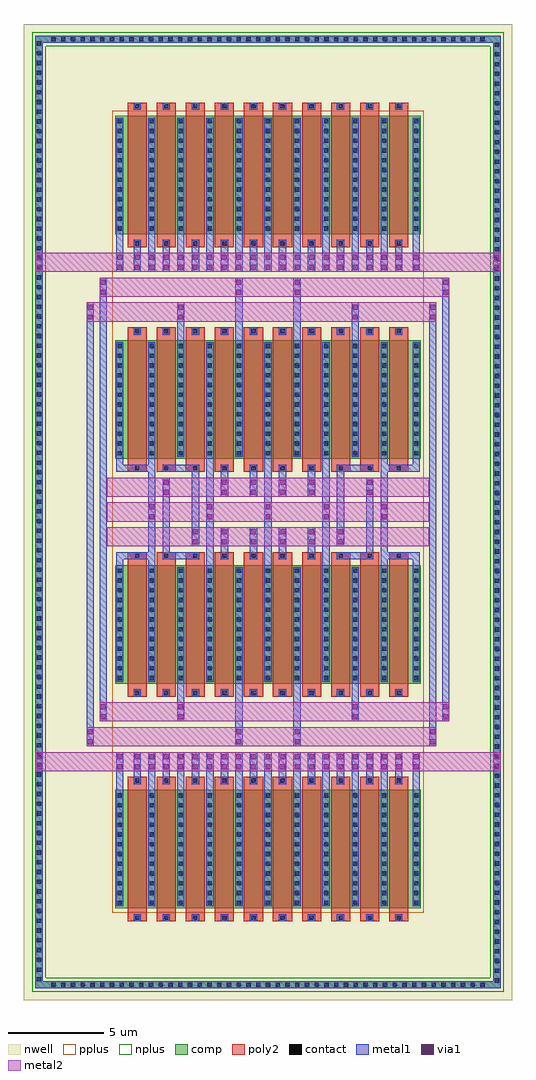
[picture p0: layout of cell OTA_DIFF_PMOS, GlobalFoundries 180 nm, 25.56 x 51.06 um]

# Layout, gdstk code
import gdstk
lib = gdstk.Library(unit=1e-6, precision=5e-09)
def R(c, l, rs):  # rectangles x0, y0, x1, y1
    for r in rs: c.add(gdstk.rectangle(r[:2], r[2:], *l))
def A(c, l, x, y, w, h, nx, ny, dx, dy):  # array of equal rectangles
    R(c, l, [(x+i*dx, y+j*dy, x+i*dx+w, y+j*dy+h) for i in range(nx) for j in range(ny)])
def P(c, l, *ps):  # polygons
    for p in ps: c.add(gdstk.Polygon(p, *l))
nwell = (21, 0)
comp = (22, 0)
poly2 = (30, 0)
pplus = (31, 0)
nplus = (32, 0)
contact = (33, 0)
metal1 = (34, 0)
via1 = (35, 0)
metal2 = (36, 0)

pfet_2 = lib.new_cell('pfet$2')
R(pfet_2, nwell, [(-0.9,-0.44,15.96,6.64)])
R(pfet_2, comp, [(-0.46,0,0,6.2), (0,0,15.06,6.2), (15.06,0,15.52,6.2)])
A(pfet_2, poly2, 0.19, -0.68, 1, 0.38, 10, 1, 1.52, 0)
A(pfet_2, poly2, 0.19, -0.3, 1, 6.8, 10, 1, 1.52, 0)
R(pfet_2, pplus, [(-0.63,-0.24,15.69,6.44)])
A(pfet_2, contact, 0.58, -0.6, 0.22, 0.22, 10, 1, 1.52, 0)
A(pfet_2, contact, -0.34, 0.185, 0.22, 0.22, 1, 12, 0, 0.51)
A(pfet_2, contact, 1.34, 0.185, 0.22, 0.22, 9, 12, 1.52, 0.51)
A(pfet_2, contact, 15.18, 0.185, 0.22, 0.22, 1, 12, 0, 0.51)
A(pfet_2, metal1, 0.5, -0.68, 0.38, 0.38, 10, 1, 1.52, 0)
A(pfet_2, metal1, 1.26, 0.105, 0.38, 5.99, 9, 1, 1.52, 0)
R(pfet_2, metal1, [(-0.42,0.105,-0.04,6.095), (15.1,0.105,15.48,6.095)])

pfet = lib.new_cell('pfet')
R(pfet, nwell, [(-0.9,-0.44,15.96,6.64)])
R(pfet, comp, [(-0.46,0,0,6.2), (0,0,15.06,6.2), (15.06,0,15.52,6.2)])
A(pfet, poly2, 0.19, -0.3, 1, 6.8, 10, 1, 1.52, 0)
A(pfet, poly2, 0.19, 6.5, 1, 0.38, 10, 1, 1.52, 0)
R(pfet, pplus, [(-0.63,-0.24,15.69,6.44)])
A(pfet, contact, -0.34, 0.185, 0.22, 0.22, 1, 12, 0, 0.51)
A(pfet, contact, 1.34, 0.185, 0.22, 0.22, 9, 12, 1.52, 0.51)
A(pfet, contact, 15.18, 0.185, 0.22, 0.22, 1, 12, 0, 0.51)
A(pfet, contact, 0.58, 6.58, 0.22, 0.22, 10, 1, 1.52, 0)
A(pfet, metal1, 1.26, 0.105, 0.38, 5.99, 9, 1, 1.52, 0)
A(pfet, metal1, 0.5, 6.5, 0.38, 0.38, 10, 1, 1.52, 0)
R(pfet, metal1, [(-0.42,0.105,-0.04,6.095), (15.1,0.105,15.48,6.095)])

ota_diff_pmos = lib.new_cell('OTA_DIFF_PMOS')
R(ota_diff_pmos, nwell, [(18.975,7.635,44.535,58.7), (23.325,11.99,40.185,54.35)])
A(ota_diff_pmos, poly2, 24.415, 11.75, 1, 0.38, 10, 2, 1.52, 11.76)
A(ota_diff_pmos, poly2, 24.415, 42.45, 1, 0.38, 10, 2, 1.52, 11.76)
R(ota_diff_pmos, pplus, [(23.595,12.19,39.915,54.15)])
P(ota_diff_pmos, pplus, [(23.595,54.15),(23.595,54.15),(23.595,54.15),(23.595,54.15)])
A(ota_diff_pmos, contact, 20.425, 8.325, 0.22, 0.22, 45, 2, 0.51, 49.465)
A(ota_diff_pmos, contact, 43.625, 8.545, 0.22, 0.22, 1, 3, 0, 0.51)
A(ota_diff_pmos, contact, 19.665, 8.605, 0.22, 0.22, 1, 3, 0, 0.51)
A(ota_diff_pmos, contact, 43.625, 10.08, 0.22, 0.22, 1, 94, 0, 0.51)
A(ota_diff_pmos, contact, 19.665, 10.14, 0.22, 0.22, 1, 94, 0, 0.51)
A(ota_diff_pmos, contact, 24.805, 11.83, 0.22, 0.22, 10, 2, 1.52, 11.76)
A(ota_diff_pmos, contact, 24.805, 42.53, 0.22, 0.22, 10, 2, 1.52, 11.76)
A(ota_diff_pmos, metal1, 24.725, 11.75, 0.38, 0.38, 10, 2, 1.52, 11.76)
A(ota_diff_pmos, metal1, 24.725, 42.45, 0.38, 0.38, 10, 2, 1.52, 11.76)
A(ota_diff_pmos, via1, 24.785, 19.72, 0.26, 0.26, 19, 2, 0.76, 0.52)
A(ota_diff_pmos, via1, 25.545, 32.78, 0.26, 0.26, 5, 2, 3.04, 0.52)
A(ota_diff_pmos, via1, 29.345, 34.08, 0.26, 0.26, 4, 2, 1.52, 0.52)
A(ota_diff_pmos, via1, 24.785, 45.84, 0.26, 0.26, 19, 2, 0.76, 0.52)
R(ota_diff_pmos, via1, [(19.645,19.72,19.905,19.98), (23.865,19.72,24.125,19.98), (39.385,19.72,39.645,19.98), (43.605,19.72,43.865,19.98), (19.645,20.24,19.905,20.5), (23.865,20.24,24.125,20.5), (39.385,20.24,39.645,20.5), (43.605,20.24,43.865,20.5), (22.325,21.02,22.585,21.28), (30.105,21.02,30.365,21.28), (33.145,21.02,33.405,21.28), (40.245,21.02,40.505,21.28), (22.325,21.54,22.585,21.8), (30.105,21.54,30.365,21.8), (33.145,21.54,33.405,21.8), (40.245,21.54,40.505,21.8), (23.005,22.32,23.265,22.58), (27.065,22.32,27.325,22.58), (36.185,22.32,36.445,22.58), (40.925,22.32,41.185,22.58), (23.005,22.84,23.265,23.1), (27.065,22.84,27.325,23.1), (36.185,22.84,36.445,23.1), (40.925,22.84,41.185,23.1), (27.825,31.48,28.085,31.74), (29.345,31.48,29.605,31.74), (33.905,31.48,34.165,31.74), (35.425,31.48,35.685,31.74), (30.865,31.485,31.125,31.745), (32.385,31.485,32.645,31.745), (27.825,32,28.085,32.26), (29.345,32,29.605,32.26), (33.905,32,34.165,32.26), (35.425,32,35.685,32.26), (30.865,32.005,31.125,32.265), (32.385,32.005,32.645,32.265), (26.305,34.08,26.565,34.34), (36.945,34.08,37.205,34.34), (26.305,34.6,26.565,34.86), (36.945,34.6,37.205,34.86), (22.325,43.24,22.585,43.5), (27.065,43.24,27.325,43.5), (36.185,43.24,36.445,43.5), (40.245,43.24,40.505,43.5), (22.325,43.76,22.585,44.02), (27.065,43.76,27.325,44.02), (36.185,43.76,36.445,44.02), (40.245,43.76,40.505,44.02), (23.005,44.54,23.265,44.8), (30.105,44.54,30.365,44.8), (33.145,44.54,33.405,44.8), (40.925,44.54,41.185,44.8), (23.005,45.06,23.265,45.32), (30.105,45.06,30.365,45.32), (33.145,45.06,33.405,45.32), (40.925,45.06,41.185,45.32), (19.645,45.84,19.905,46.1), (23.865,45.84,24.125,46.1), (39.385,45.84,39.645,46.1), (43.605,45.84,43.865,46.1), (19.645,46.36,19.905,46.62), (23.865,46.36,24.125,46.62), (39.385,46.36,39.645,46.62), (43.605,46.36,43.865,46.62)])
ota_diff_pmos.add(gdstk.FlexPath([(27.765,35.46),(26.625,35.46)], 0.38, ends="flush", simple_path=True, layer=34, datatype=0))  # metal1
ota_diff_pmos.add(gdstk.FlexPath([(28.715,36.055),(28.715,30.285)], 0.38, ends="flush", simple_path=True, layer=34, datatype=0))  # metal1
ota_diff_pmos.add(gdstk.FlexPath([(27.955,35.27),(27.955,31.37)], 0.38, ends="flush", simple_path=True, layer=34, datatype=0))  # metal1
ota_diff_pmos.add(gdstk.FlexPath([(25.675,30.285),(25.675,36.055)], 0.38, ends="flush", simple_path=True, layer=34, datatype=0))  # metal1
ota_diff_pmos.add(gdstk.FlexPath([(26.435,31.07),(26.435,34.97)], 0.38, ends="flush", simple_path=True, layer=34, datatype=0))  # metal1
ota_diff_pmos.add(gdstk.FlexPath([(31.755,30.285),(31.755,36.055)], 0.38, ends="flush", simple_path=True, layer=34, datatype=0))  # metal1
ota_diff_pmos.add(gdstk.FlexPath([(29.475,35.27),(29.475,33.97)], 0.38, ends="flush", simple_path=True, layer=34, datatype=0))  # metal1
ota_diff_pmos.add(gdstk.FlexPath([(30.995,35.27),(30.995,33.97)], 0.38, ends="flush", simple_path=True, layer=34, datatype=0))  # metal1
ota_diff_pmos.add(gdstk.FlexPath([(23.995,36.055),(23.995,35.46),(24.725,35.46)], 0.38, ends="flush", simple_path=True, layer=34, datatype=0))  # metal1
ota_diff_pmos.add(gdstk.FlexPath([(25.105,35.46),(25.865,35.46)], 0.38, ends="flush", simple_path=True, layer=34, datatype=0))  # metal1
ota_diff_pmos.add(gdstk.FlexPath([(25.105,30.88),(25.865,30.88)], 0.38, ends="flush", simple_path=True, layer=34, datatype=0))  # metal1
ota_diff_pmos.add(gdstk.FlexPath([(23.995,30.285),(23.995,30.88),(24.725,30.88)], 0.38, ends="flush", simple_path=True, layer=34, datatype=0))  # metal1
ota_diff_pmos.add(gdstk.FlexPath([(29.475,31.07),(29.475,32.37)], 0.38, ends="flush", simple_path=True, layer=34, datatype=0))  # metal1
ota_diff_pmos.add(gdstk.FlexPath([(30.995,31.07),(30.995,32.37)], 0.38, ends="flush", simple_path=True, layer=34, datatype=0))  # metal1
ota_diff_pmos.add(gdstk.FlexPath([(27.765,30.88),(26.625,30.88)], 0.38, ends="flush", simple_path=True, layer=34, datatype=0))  # metal1
ota_diff_pmos.add(gdstk.FlexPath([(27.195,24.295),(27.195,22.21)], 0.38, ends="flush", simple_path=True, layer=34, datatype=0))  # metal1
ota_diff_pmos.add(gdstk.FlexPath([(30.235,24.295),(30.235,20.91)], 0.38, ends="flush", simple_path=True, layer=34, datatype=0))  # metal1
ota_diff_pmos.add(gdstk.FlexPath([(27.195,42.045),(27.195,44.13)], 0.38, ends="flush", simple_path=True, layer=34, datatype=0))  # metal1
ota_diff_pmos.add(gdstk.FlexPath([(30.235,42.045),(30.235,45.43)], 0.38, ends="flush", simple_path=True, layer=34, datatype=0))  # metal1
ota_diff_pmos.add(gdstk.FlexPath([(23.135,22.21),(23.135,45.43)], 0.38, ends="flush", simple_path=True, layer=34, datatype=0))  # metal1
ota_diff_pmos.add(gdstk.FlexPath([(22.455,20.91),(22.455,44.13)], 0.38, ends="flush", simple_path=True, layer=34, datatype=0))  # metal1
ota_diff_pmos.add(gdstk.FlexPath([(36.885,35.46),(35.745,35.46)], 0.38, ends="flush", simple_path=True, layer=34, datatype=0))  # metal1
ota_diff_pmos.add(gdstk.FlexPath([(37.075,31.07),(37.075,34.97)], 0.38, ends="flush", simple_path=True, layer=34, datatype=0))  # metal1
ota_diff_pmos.add(gdstk.FlexPath([(35.555,35.27),(35.555,31.37)], 0.38, ends="flush", simple_path=True, layer=34, datatype=0))  # metal1
ota_diff_pmos.add(gdstk.FlexPath([(34.795,36.055),(34.795,30.285)], 0.38, ends="flush", simple_path=True, layer=34, datatype=0))  # metal1
ota_diff_pmos.add(gdstk.FlexPath([(37.835,30.285),(37.835,36.055)], 0.38, ends="flush", simple_path=True, layer=34, datatype=0))  # metal1
ota_diff_pmos.add(gdstk.FlexPath([(32.515,35.27),(32.515,33.97)], 0.38, ends="flush", simple_path=True, layer=34, datatype=0))  # metal1
ota_diff_pmos.add(gdstk.FlexPath([(34.035,35.27),(34.035,33.97)], 0.38, ends="flush", simple_path=True, layer=34, datatype=0))  # metal1
ota_diff_pmos.add(gdstk.FlexPath([(38.405,35.46),(37.645,35.46)], 0.38, ends="flush", simple_path=True, layer=34, datatype=0))  # metal1
ota_diff_pmos.add(gdstk.FlexPath([(39.515,36.055),(39.515,35.46),(38.785,35.46)], 0.38, ends="flush", simple_path=True, layer=34, datatype=0))  # metal1
ota_diff_pmos.add(gdstk.FlexPath([(38.405,30.88),(37.645,30.88)], 0.38, ends="flush", simple_path=True, layer=34, datatype=0))  # metal1
ota_diff_pmos.add(gdstk.FlexPath([(39.515,30.285),(39.515,30.88),(38.785,30.88)], 0.38, ends="flush", simple_path=True, layer=34, datatype=0))  # metal1
ota_diff_pmos.add(gdstk.FlexPath([(32.515,31.07),(32.515,32.37)], 0.38, ends="flush", simple_path=True, layer=34, datatype=0))  # metal1
ota_diff_pmos.add(gdstk.FlexPath([(34.035,31.07),(34.035,32.37)], 0.38, ends="flush", simple_path=True, layer=34, datatype=0))  # metal1
ota_diff_pmos.add(gdstk.FlexPath([(36.885,30.88),(35.745,30.88)], 0.38, ends="flush", simple_path=True, layer=34, datatype=0))  # metal1
ota_diff_pmos.add(gdstk.FlexPath([(33.275,24.295),(33.275,20.91)], 0.38, ends="flush", simple_path=True, layer=34, datatype=0))  # metal1
ota_diff_pmos.add(gdstk.FlexPath([(36.315,24.295),(36.315,22.21)], 0.38, ends="flush", simple_path=True, layer=34, datatype=0))  # metal1
ota_diff_pmos.add(gdstk.FlexPath([(33.275,42.045),(33.275,45.43)], 0.38, ends="flush", simple_path=True, layer=34, datatype=0))  # metal1
ota_diff_pmos.add(gdstk.FlexPath([(36.315,42.045),(36.315,44.13)], 0.38, ends="flush", simple_path=True, layer=34, datatype=0))  # metal1
ota_diff_pmos.add(gdstk.FlexPath([(41.055,22.21),(41.055,45.43)], 0.38, ends="flush", simple_path=True, layer=34, datatype=0))  # metal1
ota_diff_pmos.add(gdstk.FlexPath([(40.375,20.91),(40.375,44.13)], 0.38, ends="flush", simple_path=True, layer=34, datatype=0))  # metal1
ota_diff_pmos.add(gdstk.FlexPath([(39.515,18.525),(39.515,20.61)], 0.38, ends="flush", simple_path=True, layer=34, datatype=0))  # metal1
ota_diff_pmos.add(gdstk.FlexPath([(38.595,19.31),(38.595,20.61)], 0.38, ends="flush", simple_path=True, layer=34, datatype=0))  # metal1
ota_diff_pmos.add(gdstk.FlexPath([(37.835,18.525),(37.835,20.61)], 0.38, ends="flush", simple_path=True, layer=34, datatype=0))  # metal1
ota_diff_pmos.add(gdstk.FlexPath([(37.075,19.31),(37.075,20.61)], 0.38, ends="flush", simple_path=True, layer=34, datatype=0))  # metal1
ota_diff_pmos.add(gdstk.FlexPath([(36.315,18.525),(36.315,20.61)], 0.38, ends="flush", simple_path=True, layer=34, datatype=0))  # metal1
ota_diff_pmos.add(gdstk.FlexPath([(35.555,19.31),(35.555,20.61)], 0.38, ends="flush", simple_path=True, layer=34, datatype=0))  # metal1
ota_diff_pmos.add(gdstk.FlexPath([(34.795,18.525),(34.795,20.61)], 0.38, ends="flush", simple_path=True, layer=34, datatype=0))  # metal1
ota_diff_pmos.add(gdstk.FlexPath([(34.035,19.31),(34.035,20.61)], 0.38, ends="flush", simple_path=True, layer=34, datatype=0))  # metal1
ota_diff_pmos.add(gdstk.FlexPath([(33.275,18.525),(33.275,20.61)], 0.38, ends="flush", simple_path=True, layer=34, datatype=0))  # metal1
ota_diff_pmos.add(gdstk.FlexPath([(32.515,19.31),(32.515,20.61)], 0.38, ends="flush", simple_path=True, layer=34, datatype=0))  # metal1
ota_diff_pmos.add(gdstk.FlexPath([(31.755,18.525),(31.755,20.61)], 0.38, ends="flush", simple_path=True, layer=34, datatype=0))  # metal1
ota_diff_pmos.add(gdstk.FlexPath([(30.995,19.31),(30.995,20.61)], 0.38, ends="flush", simple_path=True, layer=34, datatype=0))  # metal1
ota_diff_pmos.add(gdstk.FlexPath([(30.235,18.525),(30.235,20.61)], 0.38, ends="flush", simple_path=True, layer=34, datatype=0))  # metal1
ota_diff_pmos.add(gdstk.FlexPath([(29.475,19.31),(29.475,20.61)], 0.38, ends="flush", simple_path=True, layer=34, datatype=0))  # metal1
ota_diff_pmos.add(gdstk.FlexPath([(28.715,18.525),(28.715,20.61)], 0.38, ends="flush", simple_path=True, layer=34, datatype=0))  # metal1
ota_diff_pmos.add(gdstk.FlexPath([(27.955,19.31),(27.955,20.61)], 0.38, ends="flush", simple_path=True, layer=34, datatype=0))  # metal1
ota_diff_pmos.add(gdstk.FlexPath([(27.195,18.525),(27.195,20.61)], 0.38, ends="flush", simple_path=True, layer=34, datatype=0))  # metal1
ota_diff_pmos.add(gdstk.FlexPath([(26.435,19.31),(26.435,20.61)], 0.38, ends="flush", simple_path=True, layer=34, datatype=0))  # metal1
ota_diff_pmos.add(gdstk.FlexPath([(25.675,18.525),(25.675,20.61)], 0.38, ends="flush", simple_path=True, layer=34, datatype=0))  # metal1
ota_diff_pmos.add(gdstk.FlexPath([(24.915,19.31),(24.915,20.61)], 0.38, ends="flush", simple_path=True, layer=34, datatype=0))  # metal1
ota_diff_pmos.add(gdstk.FlexPath([(23.995,18.525),(23.995,20.61)], 0.38, ends="flush", simple_path=True, layer=34, datatype=0))  # metal1
ota_diff_pmos.add(gdstk.FlexPath([(39.515,47.815),(39.515,45.73)], 0.38, ends="flush", simple_path=True, layer=34, datatype=0))  # metal1
ota_diff_pmos.add(gdstk.FlexPath([(38.595,47.03),(38.595,45.73)], 0.38, ends="flush", simple_path=True, layer=34, datatype=0))  # metal1
ota_diff_pmos.add(gdstk.FlexPath([(37.835,47.815),(37.835,45.73)], 0.38, ends="flush", simple_path=True, layer=34, datatype=0))  # metal1
ota_diff_pmos.add(gdstk.FlexPath([(37.075,47.03),(37.075,45.73)], 0.38, ends="flush", simple_path=True, layer=34, datatype=0))  # metal1
ota_diff_pmos.add(gdstk.FlexPath([(36.315,47.815),(36.315,45.73)], 0.38, ends="flush", simple_path=True, layer=34, datatype=0))  # metal1
ota_diff_pmos.add(gdstk.FlexPath([(35.555,47.03),(35.555,45.73)], 0.38, ends="flush", simple_path=True, layer=34, datatype=0))  # metal1
ota_diff_pmos.add(gdstk.FlexPath([(34.795,47.815),(34.795,45.73)], 0.38, ends="flush", simple_path=True, layer=34, datatype=0))  # metal1
ota_diff_pmos.add(gdstk.FlexPath([(34.035,47.03),(34.035,45.73)], 0.38, ends="flush", simple_path=True, layer=34, datatype=0))  # metal1
ota_diff_pmos.add(gdstk.FlexPath([(33.275,47.815),(33.275,45.73)], 0.38, ends="flush", simple_path=True, layer=34, datatype=0))  # metal1
ota_diff_pmos.add(gdstk.FlexPath([(32.515,47.03),(32.515,45.73)], 0.38, ends="flush", simple_path=True, layer=34, datatype=0))  # metal1
ota_diff_pmos.add(gdstk.FlexPath([(31.755,47.815),(31.755,45.73)], 0.38, ends="flush", simple_path=True, layer=34, datatype=0))  # metal1
ota_diff_pmos.add(gdstk.FlexPath([(30.995,47.03),(30.995,45.73)], 0.38, ends="flush", simple_path=True, layer=34, datatype=0))  # metal1
ota_diff_pmos.add(gdstk.FlexPath([(30.235,47.815),(30.235,45.73)], 0.38, ends="flush", simple_path=True, layer=34, datatype=0))  # metal1
ota_diff_pmos.add(gdstk.FlexPath([(29.475,47.03),(29.475,45.73)], 0.38, ends="flush", simple_path=True, layer=34, datatype=0))  # metal1
ota_diff_pmos.add(gdstk.FlexPath([(28.715,47.815),(28.715,45.73)], 0.38, ends="flush", simple_path=True, layer=34, datatype=0))  # metal1
ota_diff_pmos.add(gdstk.FlexPath([(27.955,47.03),(27.955,45.73)], 0.38, ends="flush", simple_path=True, layer=34, datatype=0))  # metal1
ota_diff_pmos.add(gdstk.FlexPath([(27.195,47.815),(27.195,45.73)], 0.38, ends="flush", simple_path=True, layer=34, datatype=0))  # metal1
ota_diff_pmos.add(gdstk.FlexPath([(26.435,47.03),(26.435,45.73)], 0.38, ends="flush", simple_path=True, layer=34, datatype=0))  # metal1
ota_diff_pmos.add(gdstk.FlexPath([(25.675,47.815),(25.675,45.73)], 0.38, ends="flush", simple_path=True, layer=34, datatype=0))  # metal1
ota_diff_pmos.add(gdstk.FlexPath([(24.915,47.03),(24.915,45.73)], 0.38, ends="flush", simple_path=True, layer=34, datatype=0))  # metal1
ota_diff_pmos.add(gdstk.FlexPath([(23.995,47.815),(23.995,45.73)], 0.38, ends="flush", simple_path=True, layer=34, datatype=0))  # metal1
ota_diff_pmos.add(gdstk.FlexPath([(43.735,58.09),(43.735,8.435),(19.775,8.435),(19.775,57.9),(43.925,57.9)], 0.38, ends="flush", simple_path=True, layer=34, datatype=0))  # metal1
ota_diff_pmos.add(gdstk.FlexPath([(43.735,58.26),(43.735,8.435),(19.775,8.435),(19.775,57.9),(44.095,57.9),(44.095,57.9)], 0.72, ends="flush", simple_path=True, layer=32, datatype=0))  # nplus
ota_diff_pmos.add(gdstk.FlexPath([(43.735,58.09),(43.735,8.435),(19.775,8.435),(19.775,57.9),(43.925,57.9)], 0.38, ends="flush", simple_path=True, layer=22, datatype=0))  # comp
ota_diff_pmos.add(gdstk.FlexPath([(43.925,20.11),(19.585,20.11)], 1, ends="flush", simple_path=True, layer=36, datatype=0))  # metal2
ota_diff_pmos.add(gdstk.FlexPath([(43.925,46.23),(19.585,46.23)], 1, ends="flush", simple_path=True, layer=36, datatype=0))  # metal2
ota_diff_pmos.add(gdstk.FlexPath([(23.325,34.47),(40.185,34.47)], 1, ends="flush", simple_path=True, layer=36, datatype=0))  # metal2
ota_diff_pmos.add(gdstk.FlexPath([(23.325,33.17),(40.185,33.17)], 1, ends="flush", simple_path=True, layer=36, datatype=0))  # metal2
ota_diff_pmos.add(gdstk.FlexPath([(23.325,31.87),(40.185,31.87)], 1, ends="flush", simple_path=True, layer=36, datatype=0))  # metal2
ota_diff_pmos.add(gdstk.FlexPath([(22.945,22.71),(41.245,22.71)], 1, ends="flush", simple_path=True, layer=36, datatype=0))  # metal2
ota_diff_pmos.add(gdstk.FlexPath([(22.265,43.63),(40.565,43.63)], 1, ends="flush", simple_path=True, layer=36, datatype=0))  # metal2
ota_diff_pmos.add(gdstk.FlexPath([(22.945,44.93),(41.245,44.93)], 1, ends="flush", simple_path=True, layer=36, datatype=0))  # metal2
ota_diff_pmos.add(gdstk.FlexPath([(22.265,21.41),(40.565,21.41)], 1, ends="flush", simple_path=True, layer=36, datatype=0))  # metal2
ota_diff_pmos.add(gdstk.Reference(pfet_2, (24.225,35.95)))
ota_diff_pmos.add(gdstk.Reference(pfet_2, (24.225,47.71)))
ota_diff_pmos.add(gdstk.Reference(pfet, (24.225,24.19)))
ota_diff_pmos.add(gdstk.Reference(pfet, (24.225,12.43)))

lib.write_gds('OTA_DIFF_PMOS.gds')
